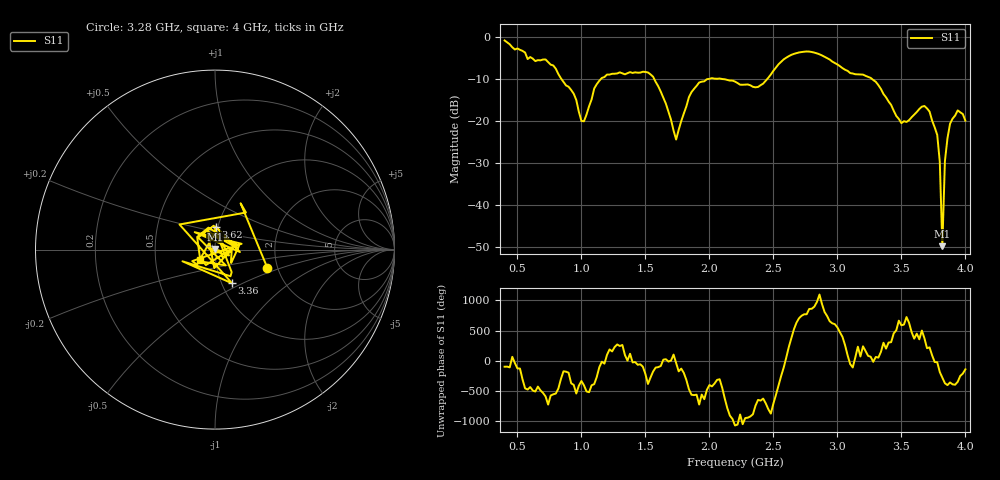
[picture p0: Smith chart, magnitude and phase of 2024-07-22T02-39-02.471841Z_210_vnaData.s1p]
!Created with skrf (http://scikit-rf.org).
# Hz S RI R 50.0
!freq ReS11 ImS11
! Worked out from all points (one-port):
!   181 points, 400 MHz to 4 GHz, reference 50 ohm
!   lowest |S11| = -49.8 dB at 3.82 GHz (marker M1), VSWR 1.01, Z = 50.1 + j0.317 ohm
!   |S11| at or under -10 dB: 1.57 GHz to 1.98 GHz (410 MHz wide, 23.1 % of centre); 2.119 GHz to 2.45 GHz (330.8 MHz wide, 14.5 % of centre); 3.273 GHz to end of sweep (the widest 3 of 4)
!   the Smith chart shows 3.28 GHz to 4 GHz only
!   S11 on the Smith chart (normalised r, x): 3.28 GHz: 1.77, -0.40; 3.36 GHz: 1.12, -0.44; 3.62 GHz: 0.97, +0.25; 4 GHz: 0.84, -0.10
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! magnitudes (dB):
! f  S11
! 400 MHz  -0.8
! 720 MHz  -5.3
! 860 MHz  -10.6
! 1.02 GHz  -20.0
! 1.12 GHz  -11.2
! 1.3 GHz  -8.4
! 1.56 GHz  -9.4
! 1.74 GHz  -24.4
! 1.76 GHz  -22.0
! 1.84 GHz  -14.3
! 1.92 GHz  -10.8
! 2.2 GHz  -10.6
! 2.38 GHz  -11.8
! 2.66 GHz  -4.0
! 3.1 GHz  -8.5
! 3.28 GHz  -10.2
! 3.36 GHz  -13.5
! 3.5 GHz  -20.5
! 3.56 GHz  -19.7
! 3.62 GHz  -17.8
! 3.7 GHz  -16.9
! 3.78 GHz  -23.3
! 3.8 GHz  -29.7
! 3.82 GHz  -49.8
! 3.84 GHz  -29.5
! 3.88 GHz  -20.6
! 3.94 GHz  -17.4
! 4 GHz  -19.9
